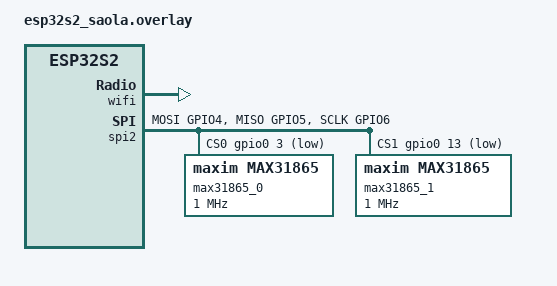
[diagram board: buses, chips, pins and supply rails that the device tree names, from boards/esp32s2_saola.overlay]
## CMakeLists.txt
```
# SPDX-License-Identifier: Apache-2.0

cmake_minimum_required(VERSION 3.20.0)

find_package(Zephyr REQUIRED HINTS $ENV{ZEPHYR_BASE})
project(ESPresso)

target_sources(app PRIVATE src/main.c)
```

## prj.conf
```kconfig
# enable printing floats
CONFIG_CBPRINTF_FP_SUPPORT=y

# enable logging 
# Level: [0,4]: [NONE, ERR, WRN, INF, DBG]
CONFIG_LOG=y
CONFIG_LOG_DEFAULT_LEVEL=3
CONFIG_LOG_MODE_MINIMAL=y 

CONFIG_WIFI=y
#CONFIG_WIFI_ESP32=y
#CONFIG_NET_SOCKETS=y


# decrease packet count and size to save RAM
# CONFIG_NET_PKT_RX_COUNT=7
# CONFIG_NET_PKT_TX_COUNT=7
# CONFIG_NET_BUF_RX_COUNT=7
# CONFIG_NET_BUF_TX_COUNT=7
#34816
CONFIG_HEAP_MEM_POOL_SIZE=56000

CONFIG_NET_BUF_RX_COUNT=16
CONFIG_NET_BUF_TX_COUNT=16
CONFIG_NET_BUF_DATA_SIZE=256

CONFIG_MAIN_STACK_SIZE=8096

CONFIG_NETWORKING=y
CONFIG_NET_L2_ETHERNET=y

CONFIG_NET_IPV6=n
CONFIG_NET_IPV4=y
CONFIG_NET_DHCPV4=y

CONFIG_LOG_MODE_MINIMAL=y
CONFIG_NET_LOG=y

# open network shell on esp
CONFIG_NET_SHELL=n

#HTTP GET
CONFIG_NET_TCP=y

CONFIG_NET_SOCKETS=y
#CONFIG_NET_SOCKETS_POSIX_NAMES=y #use z_sock instead

# MAX31865
CONFIG_GPIO=y
CONFIG_SPI=y
CONFIG_SENSOR=y
CONFIG_MAX31865=y
```

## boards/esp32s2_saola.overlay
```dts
&wifi {
	status = "okay";
};

&spi2 {
    status = "okay";
    pinctrl-0 = <&spim2_default>;
    pinctrl-names = "default";
    cs-gpios =  <&gpio0 3 GPIO_ACTIVE_LOW>,
                <&gpio0 13 GPIO_ACTIVE_LOW>;

    max31865_0: max31865@0 {
        compatible = "maxim,max31865";
        reg = <0>;
        spi-max-frequency = <1000000>;
        status = "okay";
        maxim,3-wire;
        filter-50hz;
        resistance-at-zero= <100>;
        resistance-reference = <4290>;
    };

    max31865_1: max31865@1 {
        compatible = "maxim,max31865";
        reg = <1>;
        spi-max-frequency = <1000000>;
        status = "okay";
        maxim,3-wire;
        filter-50hz;
        resistance-at-zero= <100>;
        resistance-reference = <4290>;
    };
};

&pinctrl {
    spim2_default: spim2_default {
        group1 {
            pinmux = <SPIM2_MOSI_GPIO4>, <SPIM2_MISO_GPIO5>, <SPIM2_SCLK_GPIO6>;
        };
    };
};
```

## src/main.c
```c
#include <stdio.h>
#include <stdbool.h>
#include <string.h>
#include <errno.h>
#include <zephyr/kernel.h>
#include <zephyr/net/wifi_mgmt.h>
#include <zephyr/net/socket.h>
#include <autoconf.h> // final kconfig defines
#include <zephyr/drivers/sensor.h>

char WIFI_SSID[] = CONFIG_WIFI_SSID;
char WIFI_PASSWORD[] = CONFIG_WIFI_PASSWORD;

#define HTTP_HOST "192.168.1.139" //"192.168.1.120" : raspberry pi
#define HTTP_PORT "1880"
#define HTTP_PATH "/esp_espresso_temp_data"

#define REQUEST_TEMPLATE                                                                           \
	"GET " HTTP_PATH "?temp0=%s&temp1=%s HTTP/1.1\r\n"                             \
	"Host: " HTTP_HOST ":" HTTP_PORT "\r\n"                                                    \
	"Connection: close\r\n"                                                                    \
	"\r\n"

#define MAX_RETRY_TIME_MS     30000 // Maximum time to wait for IP (30 seconds)
#define RETRY_INTERVAL_MS     5000
#define HTTP_SEND_INTERVAL_MS 5000

// static struct http_client_request req;
// static struct http_client_response rsp;

struct measurements {
	struct sensor_value temp_0;
	struct sensor_value temp_1;
};

struct sensors {
	const struct device *dev_0;
	const struct device *dev_1;
};

int connect_wifi(void)
{
	if (strcmp(WIFI_SSID, "") == 0) {
		printf("No SSID given, aborting\n");
		return -1;
	}
	struct net_if *iface = net_if_get_default();
	struct wifi_connect_req_params wifi_params = {0};

	wifi_params.ssid = WIFI_SSID;
	wifi_params.ssid_length = strlen(WIFI_SSID);
	wifi_params.psk = WIFI_PASSWORD;
	wifi_params.psk_length = strlen(WIFI_PASSWORD);
	wifi_params.channel = WIFI_CHANNEL_ANY;
	wifi_params.security = WIFI_SECURITY_TYPE_PSK;
	wifi_params.band = WIFI_FREQ_BAND_2_4_GHZ;
	wifi_params.mfp = WIFI_MFP_OPTIONAL;

	k_msleep(1000);
	if (net_mgmt(NET_REQUEST_WIFI_CONNECT, iface, &wifi_params,
		     sizeof(struct wifi_connect_req_params))) {
		printf("WiFi Connection Request Failed\n");
	} else {
		printf("WiFi Connection Request Sent\n");
	}

	// Wait for IP address
	int retry_count = 0;
	while (retry_count * RETRY_INTERVAL_MS < MAX_RETRY_TIME_MS) {
		struct net_if_ipv4 *ipv4 = iface->config.ip.ipv4;
		if (ipv4 && ipv4->unicast[0].ipv4.is_used &&
		    ipv4->unicast[0].ipv4.address.in_addr.s4_addr32[0] != 0) {
			char ip_str[NET_IPV4_ADDR_LEN];
			net_addr_ntop(AF_INET, &ipv4->unicast[0].ipv4.address.in_addr, ip_str,
				      sizeof(ip_str));
			printf("IP address obtained: %s\n", ip_str);
			return 0;
		} else {
			printf("Waiting for IP allocation\n");
		}

		k_msleep(RETRY_INTERVAL_MS);
		retry_count++;
	}

	return -1;
}

int send_http_get(double temperature_sensor_0, double temperature_sensor_1)
{
	int sock, ret;
	struct sockaddr_in addr;
	char buf[4096];
	char request[256];
	char temp_0_str[10], temp_1_str[10];

	printf("Preparing HTTP GET request for http://" HTTP_HOST ":" HTTP_PORT HTTP_PATH "\n");

	sock = zsock_socket(AF_INET, SOCK_STREAM, IPPROTO_TCP);
	if (sock < 0) {
		printf("Failed to create socket: %d\n", sock);
		return -1;
	}

	printf("sock = %d\n", sock);

	memset(&addr, 0, sizeof(addr));
	addr.sin_family = AF_INET;
	addr.sin_port = htons(strtol(HTTP_PORT, NULL, 10));

	ret = zsock_inet_pton(AF_INET, HTTP_HOST, &addr.sin_addr);
	if (ret != 1) {
		printf("Invalid address: %d\n", ret);
		zsock_close(sock);
		return -1;
	}

	ret = zsock_connect(sock, (struct sockaddr *)&addr, (socklen_t)sizeof(addr));
	if (ret < 0) {
		printf("Failed to connect: %d\n", ret);
		zsock_close(sock);
		return -1;
	} else {
		printf("Connection successful\n");
	}

	// Convert float to string
	snprintf(temp_0_str, sizeof(temp_0_str), "%.4f", temperature_sensor_0);
	snprintf(temp_1_str, sizeof(temp_1_str), "%.4f", temperature_sensor_1);

	// Format the full request string
	snprintf(request, sizeof(request), REQUEST_TEMPLATE, temp_0_str, temp_1_str);

	// printf("Sending request: %s", request);
	ret = zsock_send(sock, request, sizeof(request), 0);
	if (ret < 0) {
		printf("Failed to send request: %d\n", ret);
		zsock_close(sock);
		return -1;
	}

	printf("Request sent, waiting for response...\n");

	do {
		ret = zsock_recv(sock, buf, sizeof(buf) - 1, 0);
		if (ret < 0) {
			if (errno == EINTR) {
				// Interrupted system call, try again
				continue;
			}
			printf("Error in recv: %d (%s)\n", errno, strerror(errno));
			break;
		} else if (ret == 0) {
			printf("Connection closed by server\n");
			break;
		} else {
			buf[ret] = '\0'; // Null-terminate the received data
			printf("Received %zd bytes: %s\n", ret, buf);
		}
	} while (ret > 0);

	printf("closing socket %i\n", sock);
	zsock_close(sock);
	return 0;
}

int max31865_init(struct sensors *sensors)
{
	if (!device_is_ready(sensors->dev_0)) {
		printk("sensor_0: device not ready.\n");
		return -1;
	}
	if (!device_is_ready(sensors->dev_1)) {
		printk("sensor_1: device not ready.\n");
		return -1;
	}

	printf("Device 0 %p name is %s\n", sensors->dev_0, sensors->dev_0->name);
	printf("Device 1 %p name is %s\n", sensors->dev_1, sensors->dev_1->name);
	return 0;
}

int max31865_get_measurements(struct sensors *sensors, struct measurements *m)
{
	int ret_0 = sensor_sample_fetch(sensors->dev_0);
	int ret_1 = sensor_sample_fetch(sensors->dev_1);

	if (ret_0 < 0) {
		printf("failed to get measurements from sensor 0\n");
		return ret_0;
	}if (ret_1 < 0) {
		printf("failed to get measurements from sensor 1\n");
		return ret_1;
	}

	sensor_channel_get(sensors->dev_0, SENSOR_CHAN_AMBIENT_TEMP, &m->temp_0);
	sensor_channel_get(sensors->dev_1, SENSOR_CHAN_AMBIENT_TEMP, &m->temp_1);

	printf("T1: %f;\t T2: %f\n", sensor_value_to_double(&m->temp_0),sensor_value_to_double(&m->temp_1));
	return 0;
}

int main(void)
{
	/* BME 680 */
	const struct device *const dev_0 = DEVICE_DT_GET(DT_NODELABEL(max31865_0));
	const struct device *const dev_1 = DEVICE_DT_GET(DT_NODELABEL(max31865_1));
	struct sensors sensors = {dev_0, dev_1};

	struct measurements measurements = {{0, 0}, {0, 0}};


	max31865_init(&sensors);

	/* WiFi */
	printf("WiFi Connection Test\n");
	printf("Trying to connect to %s\n", WIFI_SSID);

	int ret = connect_wifi();
	if (ret != 0) {
		return -1;
	}
	// k_msleep(10000);

	while (true) {
		max31865_get_measurements(&sensors, &measurements);
		send_http_get(sensor_value_to_double(&measurements.temp_0),
			      sensor_value_to_double(&measurements.temp_1));
		k_msleep(HTTP_SEND_INTERVAL_MS);
	}
	return 0;
}
```
